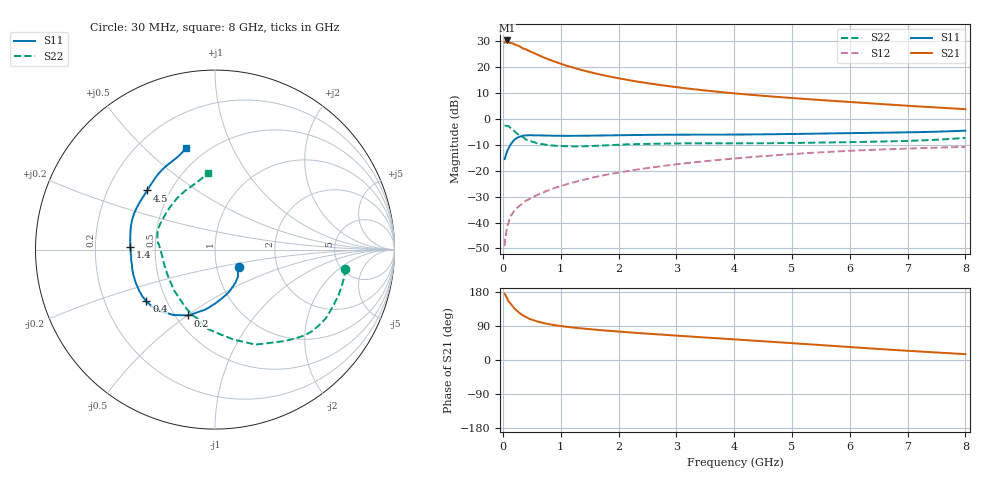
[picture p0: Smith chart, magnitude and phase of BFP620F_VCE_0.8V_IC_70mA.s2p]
! Infineon Technologies  Discrete & RF Semiconductors
! BFP620F
! VCE =  0.8 V,  IC =  70 mA
! Common Emitter S-Parameters:  Dec 2014
# GHz  S  MA  R  50
!  f  S11  S21  S12  S22
! GHz  MAG  ANG  MAG  ANG  MAG  ANG  MAG  ANG
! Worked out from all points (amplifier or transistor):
!   95 points, 30 MHz to 8 GHz, reference 50 ohm
!   highest |S21| = 30.2 dB at 70 MHz (marker M1)
!   |S21| within 3 dB of that: start of sweep to 342.4 MHz
!   unconditionally stable (mu >= 1): start of sweep to 59.61 MHz; 1.215 GHz to end of sweep
!   at 300 MHz: K = 0.69, MSG = 30.6 dB, |S12| = -33.3 dB
!   at 3.3 GHz: K = 1.05, MAG = 12.7 dB, |S12| = -16.8 dB
!   at 8 GHz: K = 1.07, MAG = 5.6 dB, |S12| = -10.8 dB
!   S11 on the Smith chart (normalised r, x): 30 MHz: 1.28, -0.26; 200 MHz: 0.58, -0.50; 400 MHz: 0.39, -0.29; 1.4 GHz: 0.36, +0.02; 4.5 GHz: 0.37, +0.33; 8 GHz: 0.39, +0.68
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0.03  0.1676 -36.2  29.62 174.3  0.0035 80.3  0.7339 -8.3
0.04  0.1767 -44.0  30.17 172.8  0.0049 81.4  0.736 -12.4
0.05  0.1975 -49.3  31.89 170.4  0.0054 74.6  0.7345 -16.4
0.07  0.2286 -64.2  32.39 163.5  0.0076 70.2  0.7297 -24.0
0.1  0.2715 -80.9  30.48 154.8  0.0098 72.9  0.7173 -35.9
0.12  0.3004 -89.8  29.12 150.9  0.0119 70.3  0.6903 -43.9
0.15  0.3392 -99.4  28.92 145.6  0.0139 67.9  0.6375 -53.2
0.2  0.396 -112.1  27.3 136.0  0.0172 66.5  0.5758 -66.8
0.3  0.4556 -130.6  24.54 122.4  0.0216 61.7  0.4694 -87.3
0.35  0.4724 -137.2  22.65 117.4  0.024 62.4  0.4413 -96.2
0.4  0.479 -143.0  21.77 113.6  0.0265 60.7  0.3964 -104.1
0.5  0.4804 -151.4  19.26 106.5  0.0302 62.4  0.3637 -116.4
0.7  0.4763 -162.7  15.33 97.6  0.0382 64.3  0.3221 -134.8
1  0.4707 -172.8  11.53 89.7  0.0504 64.9  0.2982 -153.9
1.4  0.4722 178.0  8.509 82.8  0.0669 64.9  0.295 -171.2
2  0.4815 167.9  6.048 75.1  0.092 62.5  0.3152 174.1
2.7  0.4917 158.8  4.518 67.5  0.1203 58.4  0.3306 165.8
4.1  0.4973 142.9  3.029 53.4  0.1753 48.5  0.3364 151.8
4.5  0.5014 138.9  2.773 49.5  0.1904 45.3  0.3376 146.7
5.4  0.5172 130.9  2.34 40.4  0.2223 37.9  0.3465 134.6
6.7  0.542 118.5  1.875 27.2  0.2592 26.7  0.3679 116.2
8  0.5909 105.8  1.533 15.4  0.287 16.1  0.4292 95.1
